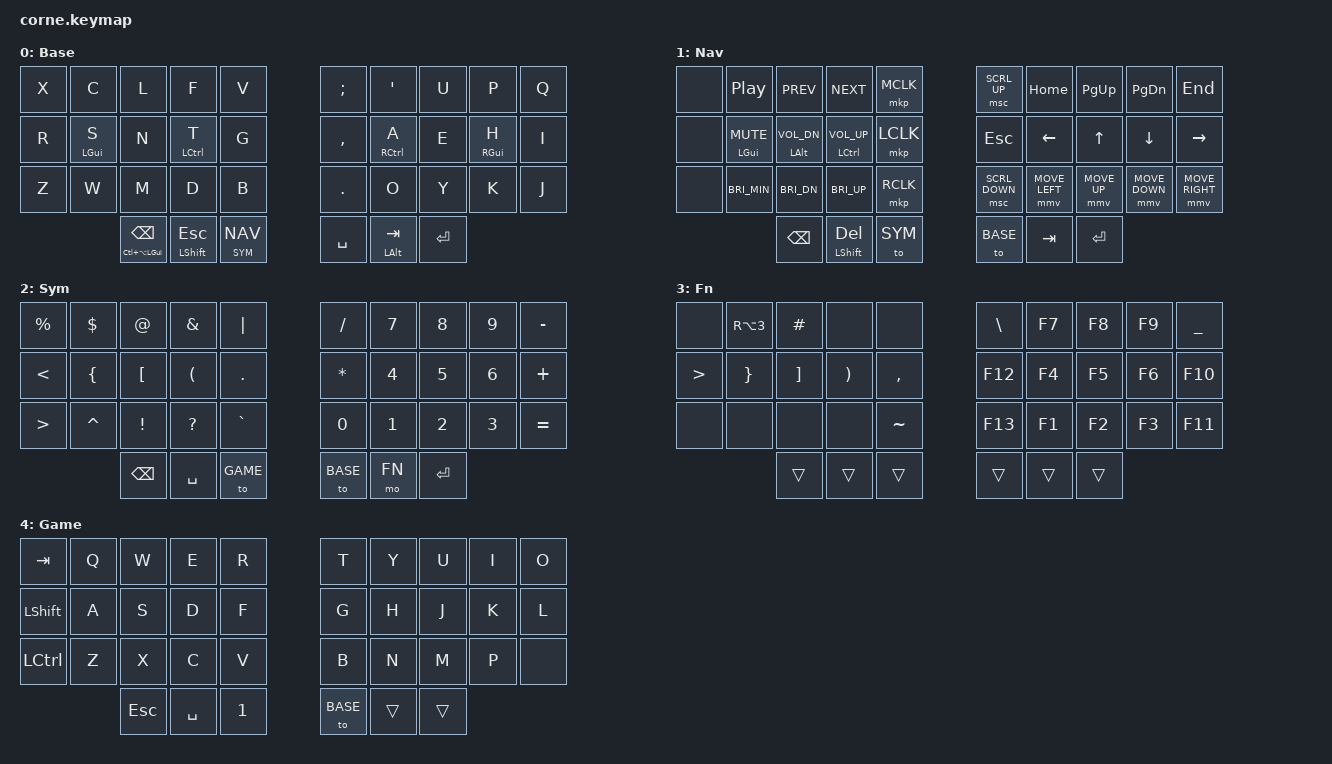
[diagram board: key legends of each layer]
/*
 * Chocofi keymap — 36 keys (3x5 + 3 thumbs)
 *
 * The Chocofi is electrically a Corne, so it is built with the upstream
 * `corne` shield. Because this is a 36-key board we select the Corne's
 * 5-column physical layout below (the shield otherwise defaults to the
 * 42-key 6-column layout, which would reject a 36-key keymap).
 *
 * Design (see README.md):
 *   - Toggleable layers: tap a layer key to switch, hold for momentary access.
 *   - Every non-base layer has a "return to base" key (R1) so you never get lost.
 *   - Shift + Opt are momentary thumb mods (NOT home-row), so macOS handles
 *     capitals and Polish diacritics (Polish Pro layout) automatically.
 *   - Home-row mods: Cmd on the middle-finger home keys, Ctrl on the pinkies.
 *   - Thumbs carry no letters: only mods, space, enter, tab, backspace, layers.
 *
 * Position map:
 *   0  1  2  3  4      5  6  7  8  9
 *   10 11 12 13 14     15 16 17 18 19
 *   20 21 22 23 24     25 26 27 28 29
 *         30 31 32     33 34 35
 *   left thumbs: 30=L3 31=L2 32=L1   right thumbs: 33=R1 34=R2 35=R3
 */

#define BASE 0
#define NAV  1   // System & Arrows
#define SYM  2   // Symbols & Numbers
#define FN   3   // F-keys + closing brackets (hold L2 on SYM)
#define GAME 4

#include <behaviors.dtsi>
#include <dt-bindings/zmk/keys.h>
#include <dt-bindings/zmk/bt.h>
#include <dt-bindings/zmk/pointing.h>

/ {
    // Chocofi = Corne 5-column (36 keys). Overrides the shield's 6-column default.
    chosen {
        zmk,physical-layout = &foostan_corne_5col_layout;
    };

    behaviors {
        // Left-hand home-row mod: hold only fires if a right-hand key follows.
        hml: home_row_mod_left {
            compatible = "zmk,behavior-hold-tap";
            #binding-cells = <2>;
            flavor = "balanced";
            tapping-term-ms = <280>;
            require-prior-idle-ms = <150>;
            quick-tap-ms = <175>;
            hold-trigger-key-positions = <5 6 7 8 9 15 16 17 18 19 25 26 27 28 29 33 34 35>;
            hold-trigger-on-release;
            bindings = <&kp>, <&kp>;
        };

        // Right-hand home-row mod: hold only fires if a left-hand key follows.
        hmr: home_row_mod_right {
            compatible = "zmk,behavior-hold-tap";
            #binding-cells = <2>;
            flavor = "balanced";
            tapping-term-ms = <280>;
            require-prior-idle-ms = <150>;
            quick-tap-ms = <175>;
            hold-trigger-key-positions = <0 1 2 3 4 10 11 12 13 14 20 21 22 23 24 30 31 32>;
            hold-trigger-on-release;
            bindings = <&kp>, <&kp>;
        };

        // Layer key: tap = switch layer (&to), hold = momentary layer (&mo).
        // Usage: &lt_to <hold-layer> <tap-layer>
        lt_to: layer_tap_to {
            compatible = "zmk,behavior-hold-tap";
            #binding-cells = <2>;
            flavor = "balanced";
            tapping-term-ms = <200>;
            bindings = <&mo>, <&to>;
        };

        // Thumb mod-tap (balanced) for thumb Shift / Opt and the BSPC/MEH key.
        mtt: mod_tap_thumb {
            compatible = "zmk,behavior-hold-tap";
            #binding-cells = <2>;
            flavor = "balanced";
            tapping-term-ms = <220>;
            bindings = <&kp>, <&kp>;
        };
    };

    keymap {
        compatible = "zmk,keymap";

        base_layer {
            display-name = "Base";
            bindings = <
   &kp X    &kp C          &kp L      &kp F           &kp V        &kp SEMI   &kp APOS        &kp U      &kp P           &kp Q
   &kp R    &hml LGUI S    &kp N      &hml LCTRL T    &kp G        &kp COMMA  &hmr RCTRL A    &kp E      &hmr RGUI H     &kp I
   &kp Z    &kp W          &kp M      &kp D           &kp B        &kp DOT    &kp O           &kp Y      &kp K           &kp J
                                  &mtt LC(LA(LGUI)) BSPC  &mtt LSHFT ESC  &lt_to SYM NAV      &kp SPACE  &mtt LALT TAB  &kp RET
            >;
        };

        nav_layer {
            display-name = "Nav";
            bindings = <
   &none   &kp C_PP           &kp C_PREV          &kp C_NEXT           &mkp MCLK  &msc SCRL_UP   &kp HOME        &kp PG_UP       &kp PG_DN       &kp END
   &none   &hml LGUI C_MUTE   &hml LALT C_VOL_DN  &hml LCTRL C_VOL_UP  &mkp LCLK  &kp ESC        &kp LEFT        &kp UP          &kp DOWN        &kp RIGHT
   &none   &kp C_BRI_MIN      &kp C_BRI_DN        &kp C_BRI_UP         &mkp RCLK  &msc SCRL_DOWN &mmv MOVE_LEFT  &mmv MOVE_UP    &mmv MOVE_DOWN  &mmv MOVE_RIGHT
                                          &kp BSPC  &mtt LSHFT DEL  &to SYM      &to BASE  &kp TAB  &kp RET
            >;
        };

        sym_layer {
            display-name = "Sym";
            bindings = <
   &kp PRCNT  &kp DLLR   &kp AT     &kp AMPS   &kp PIPE     &kp FSLH   &kp N7  &kp N8  &kp N9  &kp MINUS
   &kp LT     &kp LBRC   &kp LBKT   &kp LPAR   &kp DOT      &kp ASTRK  &kp N4  &kp N5  &kp N6  &kp PLUS
   &kp GT     &kp CARET  &kp EXCL   &kp QMARK  &kp GRAVE    &kp N0     &kp N1  &kp N2  &kp N3  &kp EQUAL
                              &kp BSPC  &kp SPACE  &to GAME      &to BASE  &mo FN  &kp RET
            >;
        };

        fn_layer {
            display-name = "Fn";
            bindings = <
   &none   &kp RA(N3)  &kp HASH  &none      &none       &kp BSLH  &kp F7   &kp F8   &kp F9   &kp UNDER
   &kp GT  &kp RBRC    &kp RBKT  &kp RPAR   &kp COMMA   &kp F12   &kp F4   &kp F5   &kp F6   &kp F10
   &none   &none       &none     &none      &kp TILDE   &kp F13   &kp F1   &kp F2   &kp F3   &kp F11
                            &trans  &trans  &trans       &trans  &trans  &trans
            >;
        };

        game_layer {
            display-name = "Game";
            bindings = <
   &kp TAB    &kp Q  &kp W  &kp E  &kp R       &kp T  &kp Y  &kp U  &kp I  &kp O
   &kp LSHFT  &kp A  &kp S  &kp D  &kp F       &kp G  &kp H  &kp J  &kp K  &kp L
   &kp LCTRL  &kp Z  &kp X  &kp C  &kp V       &kp B  &kp N  &kp M  &kp P  &none
                        &kp ESC  &kp SPACE  &kp N1      &to BASE  &trans  &trans
            >;
        };
    };
};
